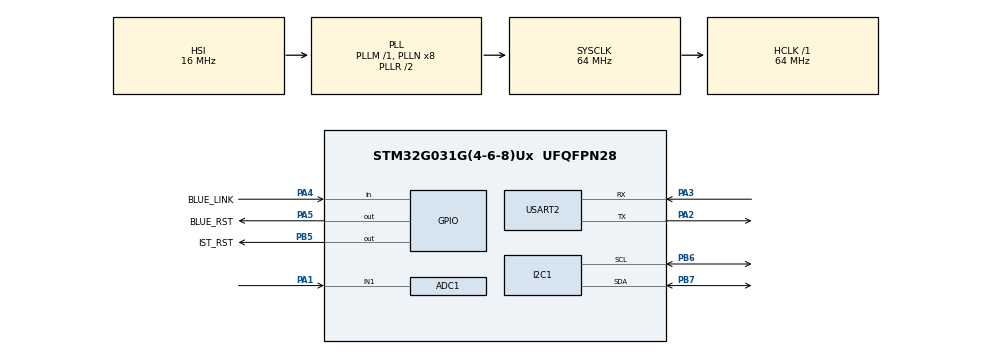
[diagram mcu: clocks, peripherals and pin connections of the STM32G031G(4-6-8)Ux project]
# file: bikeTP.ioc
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ADC1.Channel-0\#ChannelRegularConversion=ADC_CHANNEL_1
ADC1.NbrOfConversionFlag=1
ADC1.Rank-0\#ChannelRegularConversion=1
ADC1.SamplingTime-0\#ChannelRegularConversion=ADC_SAMPLINGTIME_COMMON_1
ADC1.SelectedChannel=ADC_CHANNEL_1
ADC1.master=1
I2C1.Timing=0x10B17DB5
Mcu.Family=STM32G0
Mcu.Name=STM32G031G(4-6-8)Ux
Mcu.Package=UFQFPN28
NVIC.TIM14_IRQn=true\:0\:0\:false\:false\:true\:true\:true\:true
NVIC.TIM16_IRQn=true\:0\:0\:false\:false\:true\:true\:true\:true
PA1.Mode=IN1
PA1.Signal=ADC1_IN1
PA13.Mode=Serial_Wire
PA13.Signal=SYS_SWDIO
PA14-BOOT0.Mode=Serial_Wire
PA14-BOOT0.Signal=SYS_SWCLK
PA2.Mode=Asynchronous
PA2.Signal=USART2_TX
PA3.Mode=Asynchronous
PA3.Signal=USART2_RX
PA4.GPIO_Label=BLUE_LINK
PA4.Signal=GPIO_Input
PA5.GPIO_Label=BLUE_RST
PA5.Signal=GPIO_Output
PB5.GPIO_Label=IST_RST
PB5.Signal=GPIO_Output
PB6.Mode=I2C
PB6.Signal=I2C1_SCL
PB7.Mode=I2C
PB7.Signal=I2C1_SDA
ProjectManager.HeapSize=0x200
ProjectManager.StackSize=0x400
ProjectManager.TargetToolchain=MDK-ARM V5.32
RCC.ADCFreq_Value=64000000
RCC.AHBFreq_Value=64000000
RCC.CortexFreq_Value=64000000
RCC.EXTERNAL_CLOCK_VALUE=12288000
RCC.HCLKFreq_Value=64000000
RCC.HSE_VALUE=8000000
RCC.HSI_VALUE=16000000
RCC.LSE_VALUE=32768
RCC.SYSCLKFreq_VALUE=64000000
RCC.SYSCLKSource=RCC_SYSCLKSOURCE_PLLCLK
RCC.VCOOutputFreq_Value=128000000
TIM14.Period=9999
TIM14.Prescaler=639
TIM16.Period=999
TIM16.Prescaler=639
USART2.VirtualMode-Asynchronous=VM_ASYNC
VP_TIM14_VS_ClockSourceINT.Mode=Enable_Timer
VP_TIM16_VS_ClockSourceINT.Mode=Enable_Timer
board=custom

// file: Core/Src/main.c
/* USER CODE BEGIN Header */
/**
  ******************************************************************************
  * @file           : main.c
  * @brief          : Main program body
  ******************************************************************************
  * @attention
  *
  * Copyright (c) 2025 STMicroelectronics.
  * All rights reserved.
  *
  * This software is licensed under terms that can be found in the LICENSE file
  * in the root directory of this software component.
  * If no LICENSE file comes with this software, it is provided AS-IS.
  *
  ******************************************************************************
  */
/* USER CODE END Header */
#include "main.h"
#include "adc.h"
#include "i2c.h"
#include "tim.h"
#include "usart.h"
#include "gpio.h"

/* USER CODE BEGIN Includes */
#include "string.h"
#include "stdio.h"
#include "ist8301.h"
#include "math.h"
/* USER CODE END Includes */

/* USER CODE BEGIN PTD */
char data[30];
float mx, my, mz;
uint8_t turn_flag;
float rpm;
uint8_t Temp;
uint8_t flag;
uint16_t count;
double Angle = 0.0;
uint16_t Time = 0;
/* USER CODE END PTD */

void SystemClock_Config(void);

int main(void)
{

  /* MCU Configuration--------------------------------------------------------*/

  /* Reset of all peripherals, Initializes the Flash interface and the Systick. */
  HAL_Init();

  /* Configure the system clock */
  SystemClock_Config();

  /* Initialize all configured peripherals */
  MX_GPIO_Init();
  MX_ADC1_Init();
  MX_USART2_UART_Init();
  MX_I2C1_Init();
  MX_TIM14_Init();
  MX_TIM16_Init();
  /* USER CODE BEGIN 2 */
	IST8310_Init();
	HAL_GPIO_WritePin(BLUE_RST_GPIO_Port,BLUE_RST_Pin,GPIO_PIN_SET);
	HAL_Delay(100);
	HAL_GPIO_WritePin(BLUE_RST_GPIO_Port,BLUE_RST_Pin,GPIO_PIN_RESET);
	HAL_TIM_Base_Start_IT(&htim16);
  /* USER CODE END 2 */

  /* Infinite loop */
  /* USER CODE BEGIN WHILE */
  while (1)
  {
		IST8310_ReadData(&mx, &my, &mz);
		Angle = calculate_heading(mx, my);
		if(Angle > 330 && Angle < 360 && turn_flag == 0)
		{
			Temp++;
			if(Temp > 5)
			{
				turn_flag = 1;
				Temp = 0;
			}
		}
		else if(turn_flag == 1 && Angle > 0 && Angle < 30)
		{
			Temp++;
			if(Temp > 5)
			{
				Time = 0;
				turn_flag = 0;
				Temp = 0;
				rpm = 6000.0/count;
				if(rpm < 160)
				{
					sprintf(data,"rpm:%.2f\r\n",rpm*1.17);
					HAL_UART_Transmit(&huart2,(uint8_t*)data,strlen(data),1000);
					memset(data,0,30);
				}
				count = 0;
			}
		}
		Time++;
		if(Time > 600)
		{
			Time = 0;
			rpm = 0.0;
			sprintf(data,"rpm:%.2f\r\n",rpm);
			HAL_UART_Transmit(&huart2,(uint8_t*)data,strlen(data),1000);
		}
		HAL_Delay(5);
    /* USER CODE END WHILE */

  }
}

void SystemClock_Config(void)
{
  RCC_OscInitTypeDef RCC_OscInitStruct = {0};
  RCC_ClkInitTypeDef RCC_ClkInitStruct = {0};

  /** Configure the main internal regulator output voltage
  */
  HAL_PWREx_ControlVoltageScaling(PWR_REGULATOR_VOLTAGE_SCALE1);

  /** Initializes the RCC Oscillators according to the specified parameters
  * in the RCC_OscInitTypeDef structure.
  */
  RCC_OscInitStruct.OscillatorType = RCC_OSCILLATORTYPE_HSI;
  RCC_OscInitStruct.HSIState = RCC_HSI_ON;
  RCC_OscInitStruct.HSIDiv = RCC_HSI_DIV1;
  RCC_OscInitStruct.HSICalibrationValue = RCC_HSICALIBRATION_DEFAULT;
  RCC_OscInitStruct.PLL.PLLState = RCC_PLL_ON;
  RCC_OscInitStruct.PLL.PLLSource = RCC_PLLSOURCE_HSI;
  RCC_OscInitStruct.PLL.PLLM = RCC_PLLM_DIV1;
  RCC_OscInitStruct.PLL.PLLN = 8;
  RCC_OscInitStruct.PLL.PLLP = RCC_PLLP_DIV2;
  RCC_OscInitStruct.PLL.PLLQ = RCC_PLLQ_DIV2;
  RCC_OscInitStruct.PLL.PLLR = RCC_PLLR_DIV2;
  if (HAL_RCC_OscConfig(&RCC_OscInitStruct) != HAL_OK)
  {
    Error_Handler();
  }

  /** Initializes the CPU, AHB and APB buses clocks
  */
  RCC_ClkInitStruct.ClockType = RCC_CLOCKTYPE_HCLK|RCC_CLOCKTYPE_SYSCLK
                              |RCC_CLOCKTYPE_PCLK1;
  RCC_ClkInitStruct.SYSCLKSource = RCC_SYSCLKSOURCE_PLLCLK;
  RCC_ClkInitStruct.AHBCLKDivider = RCC_SYSCLK_DIV1;
  RCC_ClkInitStruct.APB1CLKDivider = RCC_HCLK_DIV1;

  if (HAL_RCC_ClockConfig(&RCC_ClkInitStruct, FLASH_LATENCY_2) != HAL_OK)
  {
    Error_Handler();
  }
}

/* USER CODE BEGIN 4 */

void HAL_TIM_PeriodElapsedCallback(TIM_HandleTypeDef *htim)
{
	if(htim->Instance == TIM16)
	{
		count++;
	}
}
/* USER CODE END 4 */

void Error_Handler(void)
{
  __disable_irq();
  while (1)
  {
  }
}
